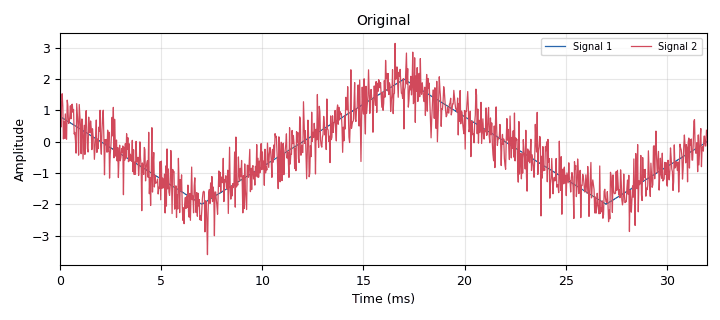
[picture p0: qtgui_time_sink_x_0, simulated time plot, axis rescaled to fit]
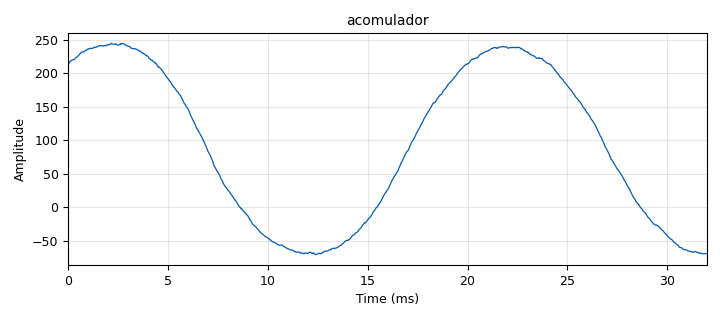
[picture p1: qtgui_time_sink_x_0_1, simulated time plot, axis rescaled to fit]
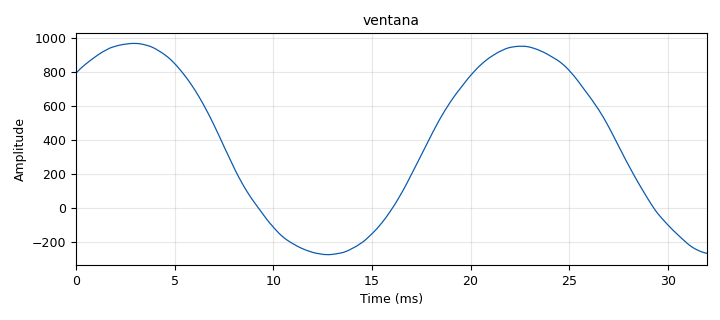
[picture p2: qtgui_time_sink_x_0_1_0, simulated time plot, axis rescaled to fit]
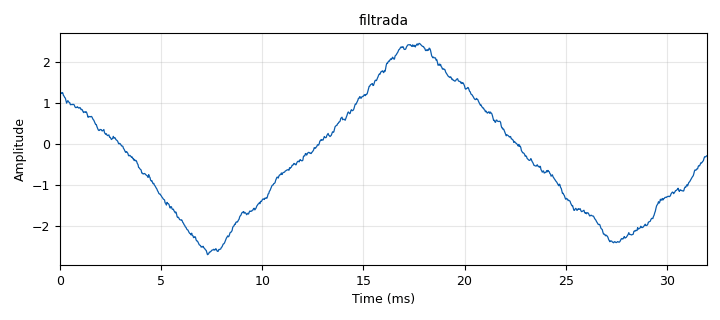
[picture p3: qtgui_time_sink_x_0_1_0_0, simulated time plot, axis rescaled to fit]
options:
  parameters:
    generate_options: qt_gui
    id: practica1_1
    output_language: python
    title: Not titled yet
  states: {}

blocks:
- name: puntos
  id: variable
  parameters:
    value: '1024'
  states: {}
- name: samp_rate
  id: variable
  parameters:
    value: '32000'
  states: {}
- name: analog_noise_source_x_0
  id: analog_noise_source_x
  parameters:
    amp: '500e-3'
    noise_type: analog.GR_GAUSSIAN
    seed: '0'
    type: float
  states: {}
- name: analog_sig_source_x_0
  id: analog_sig_source_x
  parameters:
    amp: '4'
    freq: '50'
    offset: '-2'
    phase: '1.57'
    samp_rate: samp_rate
    type: float
    waveform: analog.GR_TRI_WAVE
  states: {}
- name: blocks_add_xx_0
  id: blocks_add_xx
  parameters:
    type: float
  states: {}
- name: blocks_moving_average_xx_0
  id: blocks_moving_average_xx
  parameters:
    length: '40'
    max_iter: '60'
    scale: '100000e-6'
    type: float
  states: {}
- name: blocks_multiply_const_vxx_0
  id: blocks_multiply_const_vxx
  parameters:
    const: '333333e-6'
    type: float
  states: {}
- name: blocks_throttle2_0
  id: blocks_throttle2
  parameters:
    samples_per_second: samp_rate
    type: float
  states: {}
- name: blocks_vector_source_x_0
  id: blocks_vector_source_x
  parameters:
    repeat: 'True'
    type: float
    vector: (0, 0, 0)
  states: {state: disabled}
- name: epy_block_0
  id: epy_block
  parameters:
    _source_code: "import numpy as np\nfrom gnuradio import gr\n\nclass blk(gr.sync_block):\n    def __init__(self, additionFlag=1.0):  # Todos los parámetros tienen un valor por defecto\n        super().__init__(\n            name='e_Acum',\n            in_sig=[np.float32],\n            out_sig=[np.float32]\n        )\n        self.additionFlag = additionFlag\n        self.accumulated_value = 0.0\n\n    def work(self, input_items, output_items):\n        x = input_items[0]    # Señal de entrada\n        y0 = output_items[0]  # Señal de salida\n\n        for i in range(len(x)):\n            self.accumulated_value += x[i] * self.additionFlag\n            y0[i] = self.accumulated_value\n\n        return len(y0)\n\n\n\n"
    additionFlag: '1'
  states: {}
- name: epy_block_1
  id: epy_block
  parameters:
    _source_code: |
      import numpy as np
      from gnuradio import gr

      class blk(gr.sync_block):
          def __init__(self):
              gr.sync_block.__init__(  # Usar super() es una mejor práctica
                  self,
                  name='e_Diff',
                  in_sig=[np.float32],
                  out_sig=[np.float32]
              )
              # Guarda la última muestra de la ejecución anterior
              self.prev_sample = 0.0

          def work(self, input_items, output_items):
              x = input_items[0]
              y = output_items[0]
              N = len(x)

              if N == 0:
                  return 0

              # 1) Diferencia para la primera muestra del bloque actual
              #    usando la última muestra del bloque anterior
              y[0] = x[0] - self.prev_sample

              # 2) Diferencia entre muestras consecutivas dentro del bloque
              for i in range(1, N):
                  y[i] = x[i] - x[i-1]

              # 3) Actualiza el estado para el siguiente bloque
              self.prev_sample = x[-1]

              return N
  states: {}
- name: epy_block_2
  id: epy_block
  parameters:
    _source_code: |
      import numpy as np
      from gnuradio import gr

      class blk(gr.sync_block):
          def __init__(self):  # Solo argumentos por defecto
              gr.sync_block.__init__(
                  self,
                  name="Promedios_de_tiempos",  # Nombre corregido
                  in_sig=[np.float32],
                  out_sig=[np.float32, np.float32, np.float32, np.float32, np.float32]
              )
              self.acum_anterior = 0
              self.Ntotales = 0
              self.acum_anterior1 = 0
              self.acum_anterior2 = 0

          def work(self, input_items, output_items):
              x = input_items[0]  # Señal de entrada
              y0 = output_items[0]  # Promedio de la señal
              y1 = output_items[1]  # Media de la señal
              y2 = output_items[2]  # RMS de la señal
              y3 = output_items[3]  # Potencia promedio de la señal
              y4 = output_items[4]  # Desviación estándar de la señal

              # Cálculo del promedio
              N = len(x)
              self.Ntotales += N
              acumulado = self.acum_anterior + np.cumsum(x)
              self.acum_anterior = acumulado[N - 1]
              y0[:] = acumulado / self.Ntotales

              # Cálculo de la media cuadrática
              x2 = np.multiply(x, x)
              acumulado1 = self.acum_anterior1 + np.cumsum(x2)
              self.acum_anterior1 = acumulado1[N - 1]
              y1[:] = acumulado1 / self.Ntotales

              # Cálculo de la RMS
              y2[:] = np.sqrt(y1[:])

              # Cálculo de la potencia promedio
              y3[:] = np.multiply(y2[:], y2[:])

              # Cálculo de la desviación estándar
              x3 = np.multiply(x - y0[:], x - y0[:])
              acumulado2 = self.acum_anterior2 + np.cumsum(x3)
              self.acum_anterior2 = acumulado2[N - 1]
              y4[:] = np.sqrt(acumulado2 / self.Ntotales)

              return len(x)
  states: {}
- name: epy_block_2_0
  id: epy_block
  parameters:
    _source_code: |
      import numpy as np
      from gnuradio import gr

      class blk(gr.sync_block):
          def __init__(self):  # Solo argumentos por defecto
              gr.sync_block.__init__(
                  self,
                  name="Promedios_de_tiempos",  # Nombre corregido
                  in_sig=[np.float32],
                  out_sig=[np.float32, np.float32, np.float32, np.float32, np.float32]
              )
              self.acum_anterior = 0
              self.Ntotales = 0
              self.acum_anterior1 = 0
              self.acum_anterior2 = 0

          def work(self, input_items, output_items):
              x = input_items[0]  # Señal de entrada
              y0 = output_items[0]  # Promedio de la señal
              y1 = output_items[1]  # Media de la señal
              y2 = output_items[2]  # RMS de la señal
              y3 = output_items[3]  # Potencia promedio de la señal
              y4 = output_items[4]  # Desviación estándar de la señal

              # Cálculo del promedio
              N = len(x)
              self.Ntotales += N
              acumulado = self.acum_anterior + np.cumsum(x)
              self.acum_anterior = acumulado[N - 1]
              y0[:] = acumulado / self.Ntotales

              # Cálculo de la media cuadrática
              x2 = np.multiply(x, x)
              acumulado1 = self.acum_anterior1 + np.cumsum(x2)
              self.acum_anterior1 = acumulado1[N - 1]
              y1[:] = acumulado1 / self.Ntotales

              # Cálculo de la RMS
              y2[:] = np.sqrt(y1[:])

              # Cálculo de la potencia promedio
              y3[:] = np.multiply(y2[:], y2[:])

              # Cálculo de la desviación estándar
              x3 = np.multiply(x - y0[:], x - y0[:])
              acumulado2 = self.acum_anterior2 + np.cumsum(x3)
              self.acum_anterior2 = acumulado2[N - 1]
              y4[:] = np.sqrt(acumulado2 / self.Ntotales)

              return len(x)
  states: {}
- name: epy_block_2_1
  id: epy_block
  parameters:
    _source_code: |
      import numpy as np
      from gnuradio import gr

      class blk(gr.sync_block):
          def __init__(self):  # Solo argumentos por defecto
              gr.sync_block.__init__(
                  self,
                  name="Promedios_de_tiempos",  # Nombre corregido
                  in_sig=[np.float32],
                  out_sig=[np.float32, np.float32, np.float32, np.float32, np.float32]
              )
              self.acum_anterior = 0
              self.Ntotales = 0
              self.acum_anterior1 = 0
              self.acum_anterior2 = 0

          def work(self, input_items, output_items):
              x = input_items[0]  # Señal de entrada
              y0 = output_items[0]  # Promedio de la señal
              y1 = output_items[1]  # Media de la señal
              y2 = output_items[2]  # RMS de la señal
              y3 = output_items[3]  # Potencia promedio de la señal
              y4 = output_items[4]  # Desviación estándar de la señal

              # Cálculo del promedio
              N = len(x)
              self.Ntotales += N
              acumulado = self.acum_anterior + np.cumsum(x)
              self.acum_anterior = acumulado[N - 1]
              y0[:] = acumulado / self.Ntotales

              # Cálculo de la media cuadrática
              x2 = np.multiply(x, x)
              acumulado1 = self.acum_anterior1 + np.cumsum(x2)
              self.acum_anterior1 = acumulado1[N - 1]
              y1[:] = acumulado1 / self.Ntotales

              # Cálculo de la RMS
              y2[:] = np.sqrt(y1[:])

              # Cálculo de la potencia promedio
              y3[:] = np.multiply(y2[:], y2[:])

              # Cálculo de la desviación estándar
              x3 = np.multiply(x - y0[:], x - y0[:])
              acumulado2 = self.acum_anterior2 + np.cumsum(x3)
              self.acum_anterior2 = acumulado2[N - 1]
              y4[:] = np.sqrt(acumulado2 / self.Ntotales)

              return len(x)
  states: {}
- name: epy_block_2_1_0
  id: epy_block
  parameters:
    _source_code: |
      import numpy as np
      from gnuradio import gr

      class blk(gr.sync_block):
          def __init__(self):  # Solo argumentos por defecto
              gr.sync_block.__init__(
                  self,
                  name="Promedios_de_tiempos",  # Nombre corregido
                  in_sig=[np.float32],
                  out_sig=[np.float32, np.float32, np.float32, np.float32, np.float32]
              )
              self.acum_anterior = 0
              self.Ntotales = 0
              self.acum_anterior1 = 0
              self.acum_anterior2 = 0

          def work(self, input_items, output_items):
              x = input_items[0]  # Señal de entrada
              y0 = output_items[0]  # Promedio de la señal
              y1 = output_items[1]  # Media de la señal
              y2 = output_items[2]  # RMS de la señal
              y3 = output_items[3]  # Potencia promedio de la señal
              y4 = output_items[4]  # Desviación estándar de la señal

              # Cálculo del promedio
              N = len(x)
              self.Ntotales += N
              acumulado = self.acum_anterior + np.cumsum(x)
              self.acum_anterior = acumulado[N - 1]
              y0[:] = acumulado / self.Ntotales

              # Cálculo de la media cuadrática
              x2 = np.multiply(x, x)
              acumulado1 = self.acum_anterior1 + np.cumsum(x2)
              self.acum_anterior1 = acumulado1[N - 1]
              y1[:] = acumulado1 / self.Ntotales

              # Cálculo de la RMS
              y2[:] = np.sqrt(y1[:])

              # Cálculo de la potencia promedio
              y3[:] = np.multiply(y2[:], y2[:])

              # Cálculo de la desviación estándar
              x3 = np.multiply(x - y0[:], x - y0[:])
              acumulado2 = self.acum_anterior2 + np.cumsum(x3)
              self.acum_anterior2 = acumulado2[N - 1]
              y4[:] = np.sqrt(acumulado2 / self.Ntotales)

              return len(x)
  states: {}
- name: qtgui_number_sink_0
  id: qtgui_number_sink
  parameters:
    autoscale: 'True'
    color2: ("black", "red")
    graph_type: qtgui.NUM_GRAPH_HORIZ
    name: señal original
    nconnections: '5'
    type: float
  states: {}
- name: qtgui_number_sink_0_0_1
  id: qtgui_number_sink
  parameters:
    graph_type: qtgui.NUM_GRAPH_HORIZ
    name: señal de ruido
    nconnections: '5'
    type: float
  states: {}
- name: qtgui_number_sink_0_0_1_0
  id: qtgui_number_sink
  parameters:
    autoscale: 'True'
    graph_type: qtgui.NUM_GRAPH_HORIZ
    name: acomulador
    nconnections: '5'
    type: float
  states: {}
- name: qtgui_number_sink_0_0_1_0_0
  id: qtgui_number_sink
  parameters:
    autoscale: 'True'
    graph_type: qtgui.NUM_GRAPH_HORIZ
    name: señal filtrada
    nconnections: '5'
    type: float
  states: {}
- name: qtgui_time_sink_x_0
  id: qtgui_time_sink_x
  parameters:
    name: Original
    nconnections: '2'
    size: '1024'
    srate: samp_rate
    type: float
  states: {}
- name: qtgui_time_sink_x_0_1
  id: qtgui_time_sink_x
  parameters:
    entags: 'False'
    name: acomulador
    size: '1024'
    srate: samp_rate
    type: float
  states: {}
- name: qtgui_time_sink_x_0_1_0
  id: qtgui_time_sink_x
  parameters:
    entags: 'False'
    name: ventana
    size: '1024'
    srate: samp_rate
    type: float
  states: {}
- name: qtgui_time_sink_x_0_1_0_0
  id: qtgui_time_sink_x
  parameters:
    entags: 'False'
    name: filtrada
    size: '1024'
    srate: samp_rate
    type: float
  states: {}

connections:
- [analog_noise_source_x_0, '0', blocks_add_xx_0, '1']
- [analog_sig_source_x_0, '0', blocks_add_xx_0, '0']
- [analog_sig_source_x_0, '0', epy_block_2_0, '0']
- [analog_sig_source_x_0, '0', qtgui_time_sink_x_0, '0']
- [blocks_add_xx_0, '0', blocks_throttle2_0, '0']
- [blocks_moving_average_xx_0, '0', epy_block_1, '0']
- [blocks_moving_average_xx_0, '0', qtgui_time_sink_x_0_1_0, '0']
- [blocks_multiply_const_vxx_0, '0', epy_block_2_1_0, '0']
- [blocks_multiply_const_vxx_0, '0', qtgui_time_sink_x_0_1_0_0, '0']
- [blocks_throttle2_0, '0', epy_block_0, '0']
- [blocks_throttle2_0, '0', epy_block_2, '0']
- [blocks_throttle2_0, '0', qtgui_time_sink_x_0, '1']
- [epy_block_0, '0', blocks_moving_average_xx_0, '0']
- [epy_block_0, '0', epy_block_2_1, '0']
- [epy_block_0, '0', qtgui_time_sink_x_0_1, '0']
- [epy_block_1, '0', blocks_multiply_const_vxx_0, '0']
- [epy_block_2, '0', qtgui_number_sink_0_0_1, '0']
- [epy_block_2, '1', qtgui_number_sink_0_0_1, '1']
- [epy_block_2, '2', qtgui_number_sink_0_0_1, '2']
- [epy_block_2, '3', qtgui_number_sink_0_0_1, '3']
- [epy_block_2, '4', qtgui_number_sink_0_0_1, '4']
- [epy_block_2_0, '0', qtgui_number_sink_0, '0']
- [epy_block_2_0, '1', qtgui_number_sink_0, '1']
- [epy_block_2_0, '2', qtgui_number_sink_0, '2']
- [epy_block_2_0, '3', qtgui_number_sink_0, '3']
- [epy_block_2_0, '4', qtgui_number_sink_0, '4']
- [epy_block_2_1, '0', qtgui_number_sink_0_0_1_0, '0']
- [epy_block_2_1, '1', qtgui_number_sink_0_0_1_0, '1']
- [epy_block_2_1, '2', qtgui_number_sink_0_0_1_0, '2']
- [epy_block_2_1, '3', qtgui_number_sink_0_0_1_0, '3']
- [epy_block_2_1, '4', qtgui_number_sink_0_0_1_0, '4']
- [epy_block_2_1_0, '0', qtgui_number_sink_0_0_1_0_0, '0']
- [epy_block_2_1_0, '1', qtgui_number_sink_0_0_1_0_0, '1']
- [epy_block_2_1_0, '2', qtgui_number_sink_0_0_1_0_0, '2']
- [epy_block_2_1_0, '3', qtgui_number_sink_0_0_1_0_0, '3']
- [epy_block_2_1_0, '4', qtgui_number_sink_0_0_1_0_0, '4']

metadata:
  file_format: 1
  grc_version: v3.10.11.0-89-ga17f69e7
